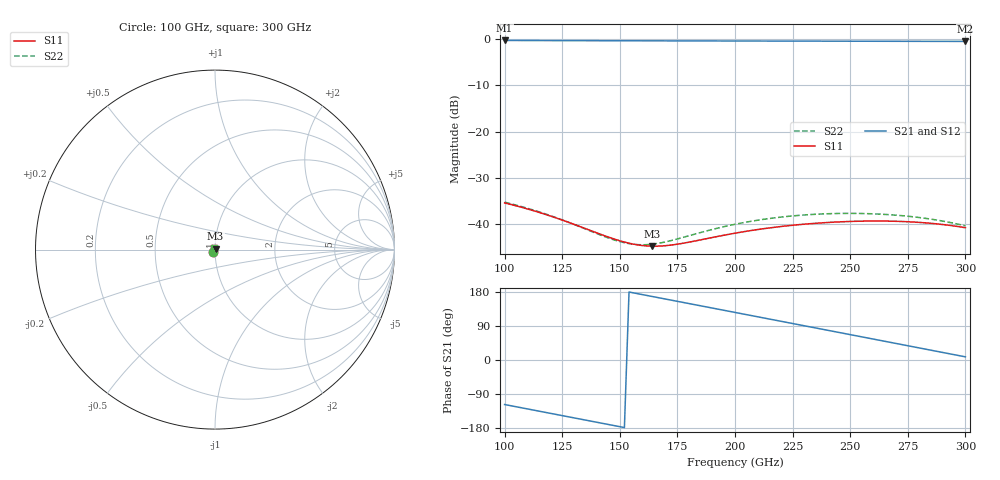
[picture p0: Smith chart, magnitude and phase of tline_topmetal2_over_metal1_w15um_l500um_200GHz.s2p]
#  GHZ S DB R 50
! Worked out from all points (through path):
!   101 points, 100 GHz to 300 GHz, reference 50 ohm
!   highest |S21| = -0.35 dB at 100 GHz (marker M1); lowest = -0.6 dB at 300 GHz (marker M2)
!   group delay of S21, straight-line fit = 3.25 ps
!   lowest |S11| = -44.7 dB at 164 GHz (marker M3), VSWR 1.01, Z = 50.3 + j0.508 ohm
!   |S11| at or under -10 dB: start of sweep to end of sweep
!   |S22| runs from -44.4 to -35.2 dB; largest |S21 - S12| = 1.1e-14
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100  -35.38 -133.7  -0.35 -117.5  -0.35 -117.5  -35.22 -133.5
108  -36.41 -148.0  -0.37 -126.9  -0.37 -126.9  -36.27 -147.7
118  -37.90 -167.3  -0.38 -138.6  -0.38 -138.6  -37.81 -167.0
134  -40.72 156.7  -0.40 -157.3  -0.40 -157.3  -40.79 156.2
144  -42.56 129.0  -0.41 -169.0  -0.41 -169.0  -42.75 126.9
152  -43.82 103.2  -0.42 -178.3  -0.42 -178.3  -43.97 98.7
158  -44.45 82.1  -0.43 174.7  -0.43 174.7  -44.39 75.5
164  -44.71 60.3  -0.43 167.7  -0.43 167.7  -44.29 52.4
168  -44.67 45.9  -0.44 163.0  -0.44 163.0  -43.98 37.8
184  -43.46 -5.4  -0.45 144.3  -0.45 144.3  -41.91 -11.0
200  -41.91 -47.1  -0.47 125.6  -0.47 125.6  -39.99 -48.8
210  -41.11 -70.3  -0.48 113.8  -0.48 113.8  -39.10 -69.6
218  -40.58 -87.9  -0.49 104.5  -0.49 104.5  -38.55 -85.4
226  -40.15 -105.0  -0.49 95.1  -0.49 95.1  -38.14 -100.7
234  -39.81 -121.6  -0.50 85.7  -0.50 85.7  -37.86 -115.7
242  -39.55 -137.9  -0.51 76.4  -0.51 76.4  -37.69 -130.6
250  -39.38 -154.0  -0.52 67.0  -0.52 67.0  -37.64 -145.2
258  -39.30 -169.8  -0.52 57.6  -0.52 57.6  -37.70 -159.8
268  -39.32 170.7  -0.53 45.9  -0.53 45.9  -37.96 -178.1
284  -39.74 139.7  -0.55 27.1  -0.55 27.1  -38.80 152.4
292  -40.15 124.1  -0.55 17.7  -0.55 17.7  -39.47 137.1
300  -40.73 108.2  -0.56 8.3  -0.56 8.3  -40.33 121.3
